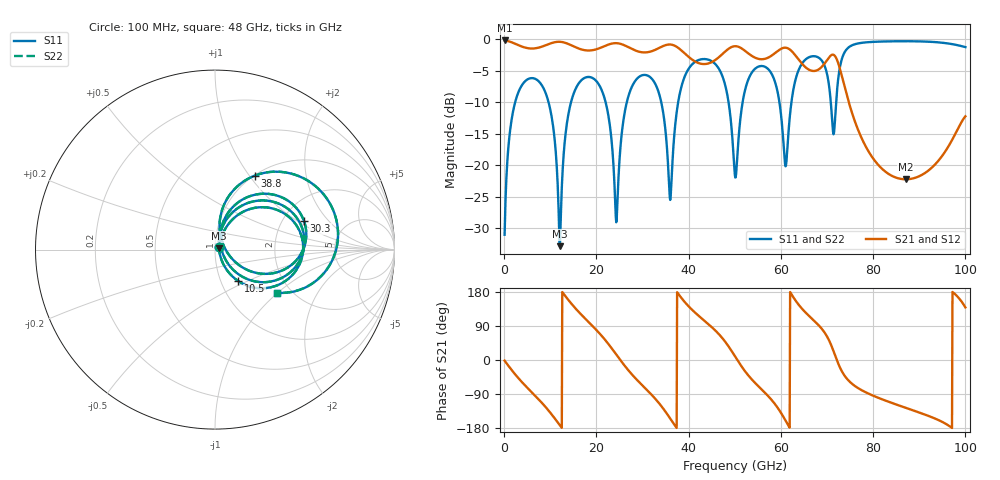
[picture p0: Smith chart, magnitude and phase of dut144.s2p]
! Touchstone file exported from HFSS 2026.1.0
!  File:  C:/ffzhzh/LocalFiles/Ansys_Project_Files/temp_train_TSV_RDL_144_1783462683_7600.aedt
!  Generated:  06:44:53 AM Jul  8, 2026
!  Design:  TSV_RDL
!  Project:  temp_train_TSV_RDL_144_1783462683_7600
! Variables:
!  h_bsmrdl = 2.42um
!  h_ox = 20um
!  h_rdl = 5um
!  h_sub = 91.38um
!  h_tmrdl = 4.3um
!  h_tsv = 91.38um
!  h_via = 3um
!  l_bsmrdl = 512.62um
!  l_sub = 4515.94um
!  l_tmrdl = 615.81um
!  m_sub = 200um
!  pitch = 47.01um
!  r_tsv = 12.91um
!  s_tmrdl = 10um
!  w_bsmrdl = 20.53um
!  w_sub = 500um
!  w_tmrdl = 17.75um
!  x_tsv_center1 = 624.685um
!  x_tsv_center2 = 1157.835um
!  x_tsv_center3 = 1791.395um
!  x_tsv_center4 = 2324.545um
!  x_tsv_center5 = 2958.105um
!  x_tsv_center6 = 3491.255um
# GHz S MA R 50.000000
! Terminal data exported
! Port[1] = TM_RDL1_1_T1
! Port[2] = TM_RDL5_1_T1
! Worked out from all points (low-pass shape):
!   1000 points, 100 MHz to 100 GHz, reference 50 ohm
!   highest |S21| = -0.20 dB at 100 MHz (marker M1); lowest = -22.2 dB at 87.1 GHz (marker M2)
!   |S21| within 3 dB of the highest: start of sweep to 40.68 GHz; 45.96 GHz to 63.81 GHz (17.85 GHz wide, 32.5 % of centre) (the widest 2 of 3)
!   lowest |S11| = -32.8 dB at 12.1 GHz (marker M3), VSWR 1.05, Z = 52.2 + j0.722 ohm
!   |S11| at or under -10 dB: 9.631 GHz to 14.49 GHz (4.86 GHz wide, 40.3 % of centre); 22 GHz to 26.59 GHz (4.588 GHz wide, 18.9 % of centre); 34.06 GHz to 37.72 GHz (3.66 GHz wide, 10.2 % of centre) (the widest 3 of 7)
!   |S22| runs from -32.8 to -0.3 dB; largest |S21 - S12| = 1.7e-13
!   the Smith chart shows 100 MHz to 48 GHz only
!   S11 on the Smith chart (normalised r, x): 100 MHz: 1.05, +0.03; 10.5 GHz: 1.21, -0.45; 30.3 GHz: 2.60, +1.14; 38.8 GHz: 1.01, +1.06; 48 GHz: 1.69, -0.99
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0.1  0.02822 33.6  0.9768 -1.7  0.9768 -1.7  0.02822 33.6
! Gamma 0 0 0 0
! Port Impedance 50 0 50 0
3.6  0.4165 31.4  0.8808 -54.9  0.8808 -54.9  0.4165 31.4
10.5  0.2183 -53.5  0.9367 -146.7  0.9367 -146.7  0.2183 -53.5
12.1  0.02291 17.6  0.9532 -172.5  0.9532 -172.5  0.0228 17.7
16.8  0.475 26.4  0.8282 118.7  0.8282 118.7  0.4751 26.4
21.7  0.3466 -31.3  0.8792 55.9  0.8792 55.9  0.3466 -31.3
24.3  0.03545 8.3  0.9299 14.6  0.9299 14.6  0.0355 8.4
30.3  0.5209 17.9  0.7851 -71.1  0.7851 -71.1  0.5209 17.9
33.4  0.3891 -17.6  0.8449 -111.3  0.8449 -111.3  0.3891 -17.6
36  0.05322 23.1  0.9073 -154.4  0.9073 -154.4  0.05275 23.1
38.8  0.4668 61.8  0.7918 158.1  0.7918 158.1  0.4667 61.9
48  0.4214 -34.8  0.8027 47.0  0.8027 47.0  0.4216 -34.6
50.1  0.08019 1.2  0.8799 8.7  0.8799 8.7  0.08173 1.3
53.1  0.495 41.0  0.7636 -43.0  0.7636 -43.0  0.4951 40.8
58.3  0.5045 -14.9  0.7545 -110.0  0.7545 -110.0  0.5043 -15.0
61  0.09827 14.2  0.8562 -159.5  0.8562 -159.5  0.09693 14.1
66.7  0.731 18.4  0.5618 109.5  0.5618 109.5  0.731 18.5
71.7  0.2212 46.0  0.7373 13.9  0.7373 13.9  0.2227 45.8
75.7  0.903 16.8  0.2425 -65.5  0.2425 -65.5  0.9031 16.7
83.4  0.9607 -20.5  0.08532 -110.4  0.08532 -110.4  0.9607 -20.5
87.1  0.9632 -36.1  0.07758 -126.4  0.07758 -126.4  0.9632 -36.1
100  0.8652 -125.4  0.2447 138.8  0.2447 138.8  0.8653 -125.3
